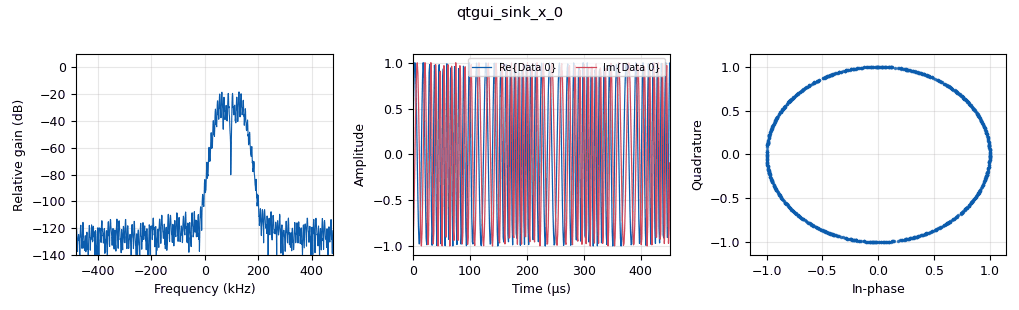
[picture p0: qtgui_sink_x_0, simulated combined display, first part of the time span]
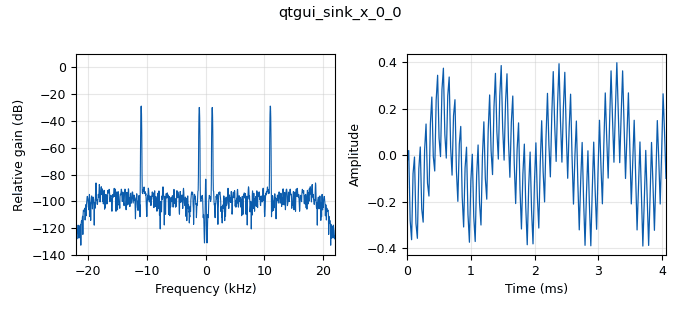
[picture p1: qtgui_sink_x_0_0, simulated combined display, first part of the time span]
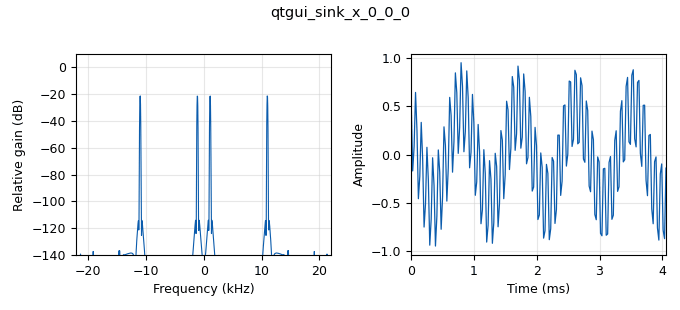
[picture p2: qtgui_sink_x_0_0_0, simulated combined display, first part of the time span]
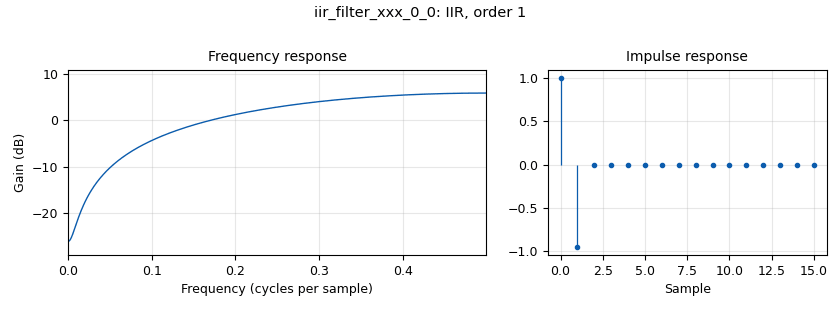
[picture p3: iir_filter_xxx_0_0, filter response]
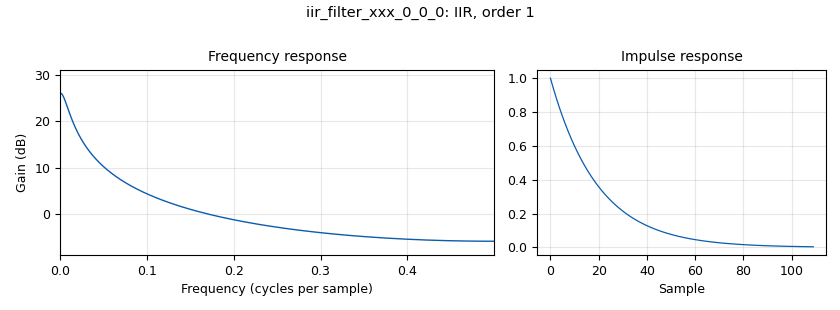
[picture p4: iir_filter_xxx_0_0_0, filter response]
options:
  parameters:
    author: prakhar
    generate_options: qt_gui
    id: part_1a
    output_language: python
    title: Not titled yet
  states: {}

blocks:
- name: fc
  id: variable
  parameters:
    value: '100000'
  states: {}
- name: samp_rate
  id: variable
  parameters:
    value: '960000'
  states: {}
- name: samp_rate_msg
  id: variable
  parameters:
    value: '44100'
  states: {}
- name: analog_noise_source_x_0
  id: analog_noise_source_x
  parameters:
    amp: '0.2'
    noise_type: analog.GR_GAUSSIAN
    seed: '0'
    type: complex
  states: {}
- name: analog_phase_modulator_fc_0
  id: analog_phase_modulator_fc
  parameters:
    sensitivity: '500000'
  states: {}
- name: analog_sig_source_x_0
  id: analog_sig_source_x
  parameters:
    amp: '0.5'
    freq: '1100'
    offset: '0'
    phase: '0'
    samp_rate: samp_rate_msg
    type: float
    waveform: analog.GR_COS_WAVE
  states: {}
- name: analog_sig_source_x_0_0
  id: analog_sig_source_x
  parameters:
    amp: '0.5'
    freq: '11000'
    offset: '0'
    phase: '0'
    samp_rate: samp_rate_msg
    type: float
    waveform: analog.GR_COS_WAVE
  states: {}
- name: analog_sig_source_x_0_0_0
  id: analog_sig_source_x
  parameters:
    amp: '1'
    freq: fc
    offset: '0'
    phase: '0'
    samp_rate: samp_rate
    type: complex
    waveform: analog.GR_COS_WAVE
  states: {}
- name: blocks_add_xx_0
  id: blocks_add_xx
  parameters:
    type: float
  states: {}
- name: blocks_add_xx_1
  id: blocks_add_xx
  parameters:
    type: complex
  states: {}
- name: blocks_complex_to_arg_0
  id: blocks_complex_to_arg
  parameters: {}
  states: {}
- name: blocks_conjugate_cc_0
  id: blocks_conjugate_cc
  parameters: {}
  states: {}
- name: blocks_delay_0
  id: blocks_delay
  parameters:
    delay: '1'
    type: complex
  states: {}
- name: blocks_multiply_xx_0
  id: blocks_multiply_xx
  parameters:
    type: complex
  states: {}
- name: blocks_multiply_xx_0_0
  id: blocks_multiply_xx
  parameters:
    type: complex
  states: {}
- name: blocks_throttle_0
  id: blocks_throttle
  parameters:
    samples_per_second: samp_rate
    type: complex
  states: {}
- name: blocks_throttle_0_0
  id: blocks_throttle
  parameters:
    samples_per_second: samp_rate_msg
    type: float
  states: {}
- name: dc_blocker_xx_0
  id: dc_blocker_xx
  parameters:
    length: '32'
    long_form: 'True'
    type: ff
  states: {}
- name: iir_filter_xxx_0
  id: iir_filter_xxx
  parameters:
    fbtaps: '[1,1]'
    fftaps: '[1/samp_rate_msg]'
    type: ffd
  states: {}
- name: iir_filter_xxx_0_0
  id: iir_filter_xxx
  parameters:
    fbtaps: '[1]'
    fftaps: '[1, -0.95]'
    oldstyle: 'False'
    type: ffd
  states: {}
- name: iir_filter_xxx_0_0_0
  id: iir_filter_xxx
  parameters:
    fbtaps: '[1, -0.95]'
    fftaps: '[1]'
    oldstyle: 'False'
    type: ffd
  states: {}
- name: low_pass_filter_0
  id: low_pass_filter
  parameters:
    cutoff_freq: samp_rate_msg/2
    decim: '30'
    gain: '1'
    samp_rate: samp_rate
    type: fir_filter_fff
    width: '200'
    win: firdes.WIN_HAMMING
  states: {state: bypassed}
- name: qtgui_sink_x_0
  id: qtgui_sink_x
  parameters:
    bw: samp_rate
    fc: '0'
    fftsize: '1024'
    gui_hint: tab@0
    type: complex
    wintype: firdes.WIN_BLACKMAN_hARRIS
  states: {}
- name: qtgui_sink_x_0_0
  id: qtgui_sink_x
  parameters:
    bw: samp_rate_msg
    fc: '0'
    fftsize: '1024'
    gui_hint: tab@1
    type: float
    wintype: firdes.WIN_BLACKMAN_hARRIS
  states: {}
- name: qtgui_sink_x_0_0_0
  id: qtgui_sink_x
  parameters:
    bw: samp_rate_msg
    fc: '0'
    fftsize: '1024'
    gui_hint: tab@2
    type: float
    wintype: firdes.WIN_BLACKMAN_hARRIS
  states: {}
- name: rational_resampler_xxx_0
  id: rational_resampler_xxx
  parameters:
    decim: '1'
    interp: '30'
    taps: ''
    type: fff
  states: {}
- name: rational_resampler_xxx_0_0
  id: rational_resampler_xxx
  parameters:
    decim: '30'
    interp: '1'
    taps: ''
    type: fff
  states: {}
- name: tab
  id: qtgui_tab_widget
  parameters:
    label0: Modulated
    label1: Demodulated
    label2: Message
    num_tabs: '3'
  states: {}

connections:
- [analog_noise_source_x_0, '0', blocks_add_xx_1, '0']
- [analog_phase_modulator_fc_0, '0', blocks_multiply_xx_0, '0']
- [analog_sig_source_x_0, '0', blocks_add_xx_0, '0']
- [analog_sig_source_x_0_0, '0', blocks_add_xx_0, '1']
- [analog_sig_source_x_0_0_0, '0', blocks_multiply_xx_0, '1']
- [blocks_add_xx_0, '0', iir_filter_xxx_0_0, '0']
- [blocks_add_xx_0, '0', qtgui_sink_x_0_0_0, '0']
- [blocks_add_xx_1, '0', blocks_delay_0, '0']
- [blocks_add_xx_1, '0', blocks_multiply_xx_0_0, '1']
- [blocks_complex_to_arg_0, '0', low_pass_filter_0, '0']
- [blocks_conjugate_cc_0, '0', blocks_multiply_xx_0_0, '0']
- [blocks_delay_0, '0', blocks_conjugate_cc_0, '0']
- [blocks_multiply_xx_0, '0', blocks_add_xx_1, '1']
- [blocks_multiply_xx_0, '0', blocks_throttle_0, '0']
- [blocks_multiply_xx_0_0, '0', blocks_complex_to_arg_0, '0']
- [blocks_throttle_0, '0', qtgui_sink_x_0, '0']
- [blocks_throttle_0_0, '0', qtgui_sink_x_0_0, '0']
- [dc_blocker_xx_0, '0', blocks_throttle_0_0, '0']
- [iir_filter_xxx_0, '0', rational_resampler_xxx_0, '0']
- [iir_filter_xxx_0_0, '0', iir_filter_xxx_0, '0']
- [iir_filter_xxx_0_0_0, '0', dc_blocker_xx_0, '0']
- [low_pass_filter_0, '0', rational_resampler_xxx_0_0, '0']
- [rational_resampler_xxx_0, '0', analog_phase_modulator_fc_0, '0']
- [rational_resampler_xxx_0_0, '0', iir_filter_xxx_0_0_0, '0']

metadata:
  file_format: 1
